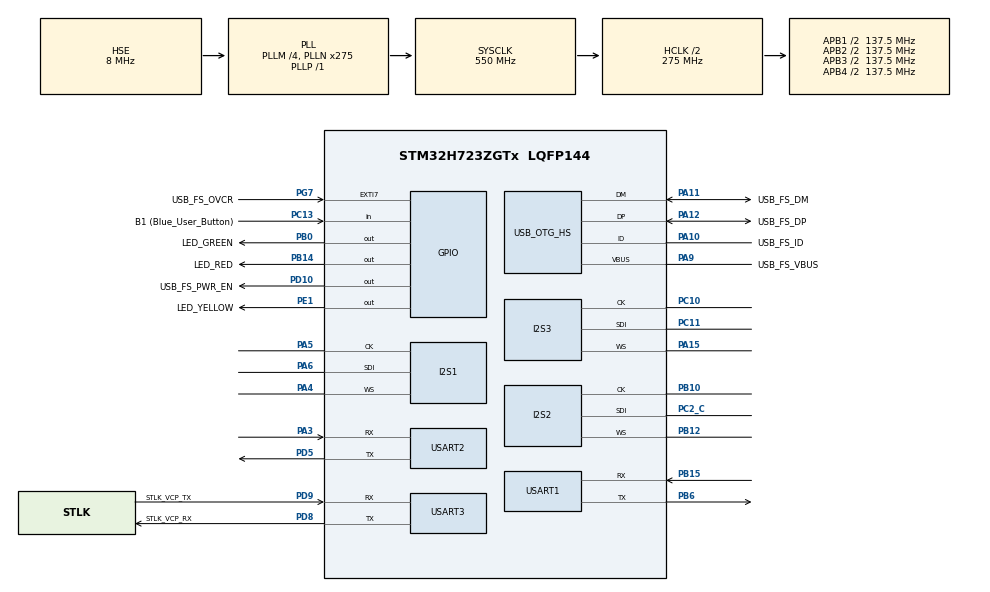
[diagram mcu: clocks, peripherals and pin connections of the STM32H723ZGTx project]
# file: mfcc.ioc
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CORTEX_M7.CPU_DCache=Enabled
CORTEX_M7.CPU_ICache=Enabled
Dma.Request0=SPI1_RX
Dma.Request1=SPI2_RX
Dma.Request2=SPI3_RX
Dma.SPI1_RX.0.Direction=DMA_PERIPH_TO_MEMORY
Dma.SPI1_RX.0.EventEnable=DISABLE
Dma.SPI1_RX.0.FIFOMode=DMA_FIFOMODE_DISABLE
Dma.SPI1_RX.0.Instance=DMA1_Stream0
Dma.SPI1_RX.0.MemDataAlignment=DMA_MDATAALIGN_WORD
Dma.SPI1_RX.0.MemInc=DMA_MINC_ENABLE
Dma.SPI1_RX.0.Mode=DMA_CIRCULAR
Dma.SPI1_RX.0.PeriphDataAlignment=DMA_PDATAALIGN_WORD
Dma.SPI1_RX.0.PeriphInc=DMA_PINC_DISABLE
Dma.SPI1_RX.0.Polarity=HAL_DMAMUX_REQ_GEN_RISING
Dma.SPI1_RX.0.Priority=DMA_PRIORITY_HIGH
Dma.SPI1_RX.0.RequestNumber=1
Dma.SPI1_RX.0.SignalID=NONE
Dma.SPI1_RX.0.SyncEnable=DISABLE
Dma.SPI1_RX.0.SyncPolarity=HAL_DMAMUX_SYNC_NO_EVENT
Dma.SPI1_RX.0.SyncRequestNumber=1
Dma.SPI1_RX.0.SyncSignalID=NONE
Dma.SPI2_RX.1.Direction=DMA_PERIPH_TO_MEMORY
Dma.SPI2_RX.1.EventEnable=DISABLE
Dma.SPI2_RX.1.FIFOMode=DMA_FIFOMODE_DISABLE
Dma.SPI2_RX.1.Instance=DMA2_Stream0
Dma.SPI2_RX.1.MemDataAlignment=DMA_MDATAALIGN_WORD
Dma.SPI2_RX.1.MemInc=DMA_MINC_ENABLE
Dma.SPI2_RX.1.Mode=DMA_CIRCULAR
Dma.SPI2_RX.1.PeriphDataAlignment=DMA_PDATAALIGN_WORD
Dma.SPI2_RX.1.PeriphInc=DMA_PINC_DISABLE
Dma.SPI2_RX.1.Polarity=HAL_DMAMUX_REQ_GEN_RISING
Dma.SPI2_RX.1.Priority=DMA_PRIORITY_MEDIUM
Dma.SPI2_RX.1.RequestNumber=1
Dma.SPI2_RX.1.SignalID=NONE
Dma.SPI2_RX.1.SyncEnable=DISABLE
Dma.SPI2_RX.1.SyncPolarity=HAL_DMAMUX_SYNC_NO_EVENT
Dma.SPI2_RX.1.SyncRequestNumber=1
Dma.SPI2_RX.1.SyncSignalID=NONE
Dma.SPI3_RX.2.Direction=DMA_PERIPH_TO_MEMORY
Dma.SPI3_RX.2.EventEnable=DISABLE
Dma.SPI3_RX.2.FIFOMode=DMA_FIFOMODE_DISABLE
Dma.SPI3_RX.2.Instance=DMA2_Stream1
Dma.SPI3_RX.2.MemDataAlignment=DMA_MDATAALIGN_WORD
Dma.SPI3_RX.2.MemInc=DMA_MINC_ENABLE
Dma.SPI3_RX.2.Mode=DMA_CIRCULAR
Dma.SPI3_RX.2.PeriphDataAlignment=DMA_PDATAALIGN_WORD
Dma.SPI3_RX.2.PeriphInc=DMA_PINC_DISABLE
Dma.SPI3_RX.2.Polarity=HAL_DMAMUX_REQ_GEN_RISING
Dma.SPI3_RX.2.Priority=DMA_PRIORITY_LOW
Dma.SPI3_RX.2.RequestNumber=1
Dma.SPI3_RX.2.SignalID=NONE
Dma.SPI3_RX.2.SyncEnable=DISABLE
Dma.SPI3_RX.2.SyncPolarity=HAL_DMAMUX_SYNC_NO_EVENT
Dma.SPI3_RX.2.SyncRequestNumber=1
Dma.SPI3_RX.2.SyncSignalID=NONE
I2S1.AudioFreq=I2S_AUDIOFREQ_16K
I2S1.DataFormat=I2S_DATAFORMAT_24B
I2S1.ErrorAudioFreq=0.2 %
I2S1.Instance=SPI$Index
I2S1.RealAudioFreq=16.033 KHz
I2S2.AudioFreq=I2S_AUDIOFREQ_16K
I2S2.DataFormat=I2S_DATAFORMAT_24B
I2S2.ErrorAudioFreq=0.2 %
I2S2.Instance=SPI$Index
I2S2.RealAudioFreq=16.033 KHz
I2S3.AudioFreq=I2S_AUDIOFREQ_16K
I2S3.DataFormat=I2S_DATAFORMAT_24B
I2S3.ErrorAudioFreq=0.2 %
I2S3.Instance=SPI$Index
I2S3.RealAudioFreq=16.033 KHz
Mcu.Family=STM32H7
Mcu.Name=STM32H723ZGTx
Mcu.Package=LQFP144
NVIC.DMA1_Stream0_IRQn=true\:2\:0\:true\:false\:true\:false\:true\:true
NVIC.DMA2_Stream0_IRQn=true\:2\:2\:true\:false\:true\:false\:true\:true
NVIC.DMA2_Stream1_IRQn=true\:2\:3\:true\:false\:true\:false\:true\:true
NVIC.PriorityGroup=NVIC_PRIORITYGROUP_2
NVIC.TIM3_IRQn=true\:1\:2\:true\:false\:true\:true\:true\:true
NVIC.TIM4_IRQn=true\:1\:3\:true\:false\:true\:true\:true\:true
NVIC.USART1_IRQn=true\:1\:1\:true\:false\:true\:true\:true\:true
NVIC.USART2_IRQn=true\:1\:0\:true\:false\:true\:true\:true\:true
PA1.GPIO_Label=RMII_REF_CLK
PA1.Signal=ETH_REF_CLK
PA10.GPIO_Label=USB_FS_ID
PA10.Mode=OTG/Dual-Role-Device-FS
PA10.Signal=USB_OTG_HS_ID
PA11.GPIO_Label=USB_FS_DM
PA11.Mode=OTG/Dual-Role-Device-FS
PA11.Signal=USB_OTG_HS_DM
PA12.GPIO_Label=USB_FS_DP
PA12.Mode=OTG/Dual-Role-Device-FS
PA12.Signal=USB_OTG_HS_DP
PA13(JTMS/SWDIO).GPIO_Label=SWDIO
PA13(JTMS/SWDIO).Mode=Trace_Asynchronous_SW
PA13(JTMS/SWDIO).Signal=DEBUG_JTMS-SWDIO
PA14(JTCK/SWCLK).GPIO_Label=SWCLK
PA14(JTCK/SWCLK).Mode=Trace_Asynchronous_SW
PA14(JTCK/SWCLK).Signal=DEBUG_JTCK-SWCLK
PA15(JTDI).Mode=Half_Duplex_Master_Rx
PA15(JTDI).Signal=I2S3_WS
PA2.GPIO_Label=RMII_MDIO
PA2.Signal=ETH_MDIO
PA3.Mode=Asynchronous
PA3.Signal=USART2_RX
PA4.Mode=Half_Duplex_Master_Rx
PA4.Signal=I2S1_WS
PA5.Mode=Half_Duplex_Master_Rx
PA5.Signal=I2S1_CK
PA6.Mode=Half_Duplex_Master_Rx
PA6.Signal=I2S1_SDI
PA7.GPIO_Label=RMII_CRS_DV
PA7.Signal=ETH_CRS_DV
PA9.GPIO_Label=USB_FS_VBUS
PA9.Mode=Activate_VBUS_FS
PA9.Signal=USB_OTG_HS_VBUS
PB0.GPIO_Label=LED_GREEN
PB0.Signal=GPIO_Output
PB10.Mode=Half_Duplex_Master_Rx
PB10.Signal=I2S2_CK
PB12.Mode=Half_Duplex_Master_Rx
PB12.Signal=I2S2_WS
PB13.GPIO_Label=RMII_TXD1
PB13.Signal=ETH_TXD1
PB14.GPIO_Label=LED_RED
PB14.Signal=GPIO_Output
PB15.Mode=Asynchronous
PB15.Signal=USART1_RX
PB3(JTDO/TRACESWO).GPIO_Label=SWO
PB3(JTDO/TRACESWO).Mode=Trace_Asynchronous_SW
PB3(JTDO/TRACESWO).Signal=DEBUG_JTDO-SWO
PB6.Mode=Asynchronous
PB6.Signal=USART1_TX
PC1.GPIO_Label=RMII_MDC
PC1.Signal=ETH_MDC
PC10.Mode=Half_Duplex_Master_Rx
PC10.Signal=I2S3_CK
PC11.Mode=Half_Duplex_Master_Rx
PC11.Signal=I2S3_SDI
PC13.GPIO_Label=B1 (Blue_User_Button)
PC13.Signal=GPIO_Input
PC14-OSC32_IN.Mode=LSE-External-Oscillator
PC14-OSC32_IN.Signal=RCC_OSC32_IN
PC15-OSC32_OUT.Mode=LSE-External-Oscillator
PC15-OSC32_OUT.Signal=RCC_OSC32_OUT
PC2_C.Mode=Half_Duplex_Master_Rx
PC2_C.Signal=I2S2_SDI
PC4.GPIO_Label=RMII_RXD0
PC4.Signal=ETH_RXD0
PC5.GPIO_Label=RMII_RXD1
PC5.Signal=ETH_RXD1
PD10.GPIO_Label=USB_FS_PWR_EN
PD10.Signal=GPIO_Output
PD5.Mode=Asynchronous
PD5.Signal=USART2_TX
PD8.GPIO_Label=STLK_VCP_RX
PD8.Mode=Asynchronous
PD8.Signal=USART3_TX
PD9.GPIO_Label=STLK_VCP_TX
PD9.Mode=Asynchronous
PD9.Signal=USART3_RX
PE1.GPIO_Label=LED_YELLOW
PE1.Signal=GPIO_Output
PG11.GPIO_Label=RMII_TX_EN
PG11.Signal=ETH_TX_EN
PG13.GPIO_Label=RMII_TXD0
PG13.Signal=ETH_TXD0
PG7.GPIO_Label=USB_FS_OVCR
PG7.Signal=GPXTI7
PH0-OSC_IN.GPIO_Label=MCO
PH0-OSC_IN.Mode=HSE-External-Clock-Source
PH0-OSC_IN.Signal=RCC_OSC_IN
PH1-OSC_OUT.Signal=RCC_OSC_OUT
ProjectManager.HeapSize=0x800
ProjectManager.StackSize=0x800
ProjectManager.TargetToolchain=MDK-ARM V5.32
RCC.ADCFreq_Value=76000000
RCC.APB1Freq_Value=137500000
RCC.APB2Freq_Value=137500000
RCC.APB3Freq_Value=137500000
RCC.APB4Freq_Value=137500000
RCC.CortexFreq_Value=550000000
RCC.D1PPRE=RCC_APB3_DIV2
RCC.D2PPRE1=RCC_APB1_DIV2
RCC.D2PPRE2=RCC_APB2_DIV2
RCC.D3PPRE=RCC_APB4_DIV2
RCC.DIVM1=4
RCC.DIVM2=1
RCC.DIVN1=275
RCC.DIVN2=19
RCC.DIVP1=1
RCC.DIVQ1=4
RCC.HCLKFreq_Value=275000000
RCC.HPRE=RCC_HCLK_DIV2
RCC.HSE_VALUE=8000000
RCC.PLLFRACN=0
RCC.PLLSourceVirtual=RCC_PLLSOURCE_HSE
RCC.SYSCLKFreq_VALUE=550000000
RCC.SYSCLKSource=RCC_SYSCLKSOURCE_PLLCLK
RCC.USBCLockSelection=RCC_USBCLKSOURCE_HSI48
RCC.USBFreq_Value=48000000
STMicroelectronics.X-CUBE-AI.7.3.0.ActivationBufferSizeList=39692
STMicroelectronics.X-CUBE-AI.7.3.0.ActivationBuffers=pool0
STMicroelectronics.X-CUBE-AI.7.3.0.ActivationNames=pool0
STMicroelectronics.X-CUBE-AI.7.3.0.ActivationSizes=AI_NETWORK_DATA_ACTIVATION_1_SIZE
STMicroelectronics.X-CUBE-AI.7.3.0.ApplicationCcDeviceJjApplication=ApplicationTemplate
STMicroelectronics.X-CUBE-AI.7.3.0.HeapSize=0x800
STMicroelectronics.X-CUBE-AI.7.3.0.InternalRamActivationBufferMaxSize=AI_NETWORK_DATA_ACTIVATIONS_SIZE
STMicroelectronics.X-CUBE-AI.7.3.0.LatestDirectoryUsed-ed1af5d7925f6d6b255c3a92b220cefd7b7196caec219f8320e86f7e6d1454a7=E\:\\STM32\\STM32H723\\workspace\\my_model_mini_mfcc_0\\NUCLEO-H723ZG
STMicroelectronics.X-CUBE-AI.7.3.0.MaximumNumberOfInputLayer=1
STMicroelectronics.X-CUBE-AI.7.3.0.MaximumNumberOfOutputLayer=1
STMicroelectronics.X-CUBE-AI.7.3.0.MaximumSizeOfInputLayer=1
STMicroelectronics.X-CUBE-AI.7.3.0.MaximumSizeOfOutputLayer=1
STMicroelectronics.X-CUBE-AI.7.3.0.ModelActualCompression-ed1af5d7925f6d6b255c3a92b220cefd7b7196caec219f8320e86f7e6d1454a7=0.0
STMicroelectronics.X-CUBE-AI.7.3.0.ModelCompression-123bb9d218463d535ae74dc634eb4dd065df52d11d492c47e5397f0be547ec17=None
STMicroelectronics.X-CUBE-AI.7.3.0.ModelCompression-ed1af5d7925f6d6b255c3a92b220cefd7b7196caec219f8320e86f7e6d1454a7=None
STMicroelectronics.X-CUBE-AI.7.3.0.ModelFlashOccupation-ed1af5d7925f6d6b255c3a92b220cefd7b7196caec219f8320e86f7e6d1454a7=115056
STMicroelectronics.X-CUBE-AI.7.3.0.ModelHashList=ed1af5d7925f6d6b255c3a92b220cefd7b7196caec219f8320e86f7e6d1454a7;123bb9d218463d535ae74dc634eb4dd065df52d11d492c47e5397f0be547ec17
STMicroelectronics.X-CUBE-AI.7.3.0.ModelKind-123bb9d218463d535ae74dc634eb4dd065df52d11d492c47e5397f0be547ec17=KERAS
STMicroelectronics.X-CUBE-AI.7.3.0.ModelKind-ed1af5d7925f6d6b255c3a92b220cefd7b7196caec219f8320e86f7e6d1454a7=TFLITE
STMicroelectronics.X-CUBE-AI.7.3.0.ModelMacc-ed1af5d7925f6d6b255c3a92b220cefd7b7196caec219f8320e86f7e6d1454a7=2510560
STMicroelectronics.X-CUBE-AI.7.3.0.ModelName-123bb9d218463d535ae74dc634eb4dd065df52d11d492c47e5397f0be547ec17=network_1
STMicroelectronics.X-CUBE-AI.7.3.0.ModelName-ed1af5d7925f6d6b255c3a92b220cefd7b7196caec219f8320e86f7e6d1454a7=network
STMicroelectronics.X-CUBE-AI.7.3.0.ModelNameList=network,network_1
STMicroelectronics.X-CUBE-AI.7.3.0.ModelRamOccupation-ed1af5d7925f6d6b255c3a92b220cefd7b7196caec219f8320e86f7e6d1454a7=39692
STMicroelectronics.X-CUBE-AI.7.3.0.ModelStructureFile-ed1af5d7925f6d6b255c3a92b220cefd7b7196caec219f8320e86f7e6d1454a7=E\:\\STM32\\STM32H723\\workspace\\my_model_mini_mfcc_0\\NUCLEO-H723ZG\\my_model_mini_stm32_mfcc_3class_CANRUN.tflite
STMicroelectronics.X-CUBE-AI.7.3.0.ModelType-123bb9d218463d535ae74dc634eb4dd065df52d11d492c47e5397f0be547ec17=Saved model
STMicroelectronics.X-CUBE-AI.7.3.0.ModelType-ed1af5d7925f6d6b255c3a92b220cefd7b7196caec219f8320e86f7e6d1454a7=STM32Cube.AI runtime
STMicroelectronics.X-CUBE-AI.7.3.0.ReadyForCodeGeneration=true
STMicroelectronics.X-CUBE-AI.7.3.0.StackSize=0x800
STMicroelectronics.X-CUBE-AI.7.3.0.WorkingBufferStartAddrList=0xFFFFFFFF,0xFFFFFFFF
STMicroelectronics.X-CUBE-AI.7.3.0.XAaCUBEAaAICcArtificialOoIntelligenceJjCore=true
STMicroelectronics.X-CUBE-AI.7.3.0.copyWeightToRam=false
STMicroelectronics.X-CUBE-AI.7.3.0.customLayerConfigEnabled=false
STMicroelectronics.X-CUBE-AI.7.3.0.useInputAllocation=true
STMicroelectronics.X-CUBE-AI.7.3.0.useOutputAllocation=true
TIM3.Period=9999
TIM3.Prescaler=27499
USART1.VirtualMode-Asynchronous=VM_ASYNC
USART2.VirtualMode-Asynchronous=VM_ASYNC
USART3.VirtualMode-Asynchronous=VM_ASYNC
VP_CRC_VS_CRC.Mode=CRC_Activate
VP_STMicroelectronics.X-CUBE-AI_VS_ArtificialOoIntelligenceJjXAaCUBEAaAI_7.3.0.Mode=ArtificialOoIntelligenceJjXAaCUBEAaAI
VP_STMicroelectronics.X-CUBE-AI_VS_DeviceJjApplication_7.3.0.Mode=DeviceJjApplication
VP_TIM3_VS_ClockSourceINT.Mode=Internal
VP_TIM4_VS_ClockSourceINT.Mode=Internal
board=NUCLEO-H723ZG

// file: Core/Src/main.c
/* USER CODE BEGIN Header */
/**
  ******************************************************************************
  * @file           : main.c
  * @brief          : Main program body
  ******************************************************************************
  * @attention
  *
  * Copyright (c) 2023 STMicroelectronics.
  * All rights reserved.
  *
  * This software is licensed under terms that can be found in the LICENSE file
  * in the root directory of this software component.
  * If no LICENSE file comes with this software, it is provided AS-IS.
  *
  ******************************************************************************
  */
/* USER CODE END Header */
#include "main.h"
#include "crc.h"
#include "dma.h"
#include "i2s.h"
#include "tim.h"
#include "usart.h"
#include "usb_otg.h"
#include "gpio.h"
#include "app_x-cube-ai.h"

/* USER CODE BEGIN Includes */
#include "key.h"
#include "get_mfcc.h"
#include "get_tdoa.h"
/* USER CODE END Includes */

/* USER CODE BEGIN PD */
#define AUDIO_LENGTH 7920
/* USER CODE END PD */

void SystemClock_Config(void);

/* USER CODE BEGIN 0 */
arm_mfcc_instance_f32  S;

uint32_t audio_data_ori[AUDIO_LENGTH*4]={0};//麦克风0原始数据
uint32_t audio_data_ori_1[AUDIO_LENGTH*4]={0};//麦克风1原始数据
//8080*2双buffer  *2接收时双声道 只有右声道有效

float32_t *audio_data=NULL;//麦克风0转换后的音频数据
float32_t *audio_data_1=NULL;//麦克风1转换后的音频数据

mel_union   mel_data;//32*48 麦克风 mfcc输出结果

uint8_t flag[3]={0};//0--无数据  1--前半  2--后半

//计算时延
TDOA_Structure TDOA_M12_Str={0};
__IO uint8_t flag_beep=0;//0--响 1--关

void Init_beep(void)
{
	GPIO_InitTypeDef GPIO_InitStruct = {0};
	GPIO_InitStruct.Pin = GPIO_PIN_8;
  GPIO_InitStruct.Mode = GPIO_MODE_OUTPUT_PP;
  GPIO_InitStruct.Pull = GPIO_NOPULL;
  GPIO_InitStruct.Speed = GPIO_SPEED_FREQ_LOW;
  HAL_GPIO_Init(GPIOC, &GPIO_InitStruct);
	HAL_GPIO_WritePin(GPIOC,GPIO_PIN_8,GPIO_PIN_RESET);
}

float trans_24_cmpl_src(uint32_t input)
{
		int32_t output=0;

		input &= 0x00ffffff;

		if((input&0x800000UL)==0x800000UL)
		{
				//负数
				output =-((input^0x00ffffff) + 1);	//加法运算优先级大于异或
		}
		else
		{
				//正数
				output = input;
		}

		return (float)output;
}
//麦克风0处理函数
void trans_audio_ori_to_float(uint8_t flag_dma)
{
		uint32_t i=0;
		uint32_t *p=NULL;

		if(flag_dma==1)
			p=audio_data_ori;
		else
			p=audio_data_ori+AUDIO_LENGTH*2;

		audio_data=(float32_t*)p;

		for(i=0;i<AUDIO_LENGTH;i++)
		{
				audio_data[i]=trans_24_cmpl_src(p[i*2+1]) ;
//				printf("%f\r\n",audio_data[i]);
		}

		for(i=0;i<FFT_LENTH;i++)
		{
				TDOA_M12_Str.sound_data_x[i*2] = audio_data[i];
				TDOA_M12_Str.sound_data_x[i*2+1] = 0;
		}
}
//麦克风1处理函数
void trans_audio_ori_1_to_float(uint8_t flag_dma)
{
		uint32_t i=0;
		uint32_t *p=NULL;

		if(flag_dma==1)
			p=audio_data_ori_1;
		else
			p=audio_data_ori_1+AUDIO_LENGTH*2;

		audio_data_1=(float32_t*)p;

		for(i=0;i<AUDIO_LENGTH;i++)
		{
				audio_data_1[i]=trans_24_cmpl_src(p[i*2+1]);
//				printf("%f\r\n",audio_data[i]);
		}

		for(i=0;i<FFT_LENTH;i++)
		{
				TDOA_M12_Str.sound_data_y[i*2] = audio_data_1[i];
				TDOA_M12_Str.sound_data_y[i*2+1] = 0;
		}
}

//void generate_audio(uint8_t printf_option)
//{
//		for(uint32_t i=0;i<AUDIO_LENGTH;i++)
//		{
//			audio_data[i]=1;
//			if(printf_option)
//				printf("%u:%f\r\n",i,audio_data[i]);
//		}
//
//
//}

/* USER CODE END 0 */

int main(void)
{

  /* Enable I-Cache---------------------------------------------------------*/
  SCB_EnableICache();

  /* Enable D-Cache---------------------------------------------------------*/
  SCB_EnableDCache();

  /* MCU Configuration--------------------------------------------------------*/

  /* Reset of all peripherals, Initializes the Flash interface and the Systick. */
  HAL_Init();

  /* Configure the system clock */
  SystemClock_Config();

  /* Initialize all configured peripherals */
  MX_GPIO_Init();
  MX_DMA_Init();
  MX_USB_OTG_HS_USB_Init();
  MX_I2S1_Init();
  MX_USART1_UART_Init();
  MX_USART2_UART_Init();
  MX_USART3_UART_Init();
  MX_I2S2_Init();
  MX_I2S3_Init();
  MX_CRC_Init();
  MX_TIM3_Init();
  MX_TIM4_Init();
  MX_X_CUBE_AI_Init();
  /* USER CODE BEGIN 2 */
	Init_beep();
	Init_my_mfcc(&S);

	HAL_TIM_Base_Start_IT(&htim3);

	HAL_I2S_Receive_DMA(&hi2s1,(uint16_t*)audio_data_ori,AUDIO_LENGTH*4);
	HAL_I2S_Receive_DMA(&hi2s2,(uint16_t*)audio_data_ori_1,AUDIO_LENGTH*4);
  /* USER CODE END 2 */

  /* Infinite loop */
  /* USER CODE BEGIN WHILE */
  while (1)
  {
		if(flag[0]!=0&&flag[1]!=0)
		{
				trans_audio_ori_to_float(flag[0]);
				cal_mfcc(&S,audio_data,mel_data.data_f);
				MX_X_CUBE_AI_Process();

				trans_audio_ori_1_to_float(flag[1]);
				cal_mfcc(&S,audio_data_1,mel_data.data_f);
				MX_X_CUBE_AI_Process();

				//cal_position and trans to bluetooth
				cal_tdoa(&TDOA_M12_Str,1);
				//cal_position and trans to bluetooth

				flag[0]=0;
				flag[1]=0;
				HAL_GPIO_TogglePin(LED_GREEN_GPIO_Port,LED_GREEN_Pin);

		}

    /* USER CODE END WHILE */

  }
}

void SystemClock_Config(void)
{
  RCC_OscInitTypeDef RCC_OscInitStruct = {0};
  RCC_ClkInitTypeDef RCC_ClkInitStruct = {0};

  /** Supply configuration update enable
  */
  HAL_PWREx_ConfigSupply(PWR_LDO_SUPPLY);

  /** Configure the main internal regulator output voltage
  */
  __HAL_PWR_VOLTAGESCALING_CONFIG(PWR_REGULATOR_VOLTAGE_SCALE0);

  while(!__HAL_PWR_GET_FLAG(PWR_FLAG_VOSRDY)) {}

  /** Initializes the RCC Oscillators according to the specified parameters
  * in the RCC_OscInitTypeDef structure.
  */
  RCC_OscInitStruct.OscillatorType = RCC_OSCILLATORTYPE_HSI48|RCC_OSCILLATORTYPE_HSE;
  RCC_OscInitStruct.HSEState = RCC_HSE_ON;
  RCC_OscInitStruct.HSI48State = RCC_HSI48_ON;
  RCC_OscInitStruct.PLL.PLLState = RCC_PLL_ON;
  RCC_OscInitStruct.PLL.PLLSource = RCC_PLLSOURCE_HSE;
  RCC_OscInitStruct.PLL.PLLM = 4;
  RCC_OscInitStruct.PLL.PLLN = 275;
  RCC_OscInitStruct.PLL.PLLP = 1;
  RCC_OscInitStruct.PLL.PLLQ = 4;
  RCC_OscInitStruct.PLL.PLLR = 2;
  RCC_OscInitStruct.PLL.PLLRGE = RCC_PLL1VCIRANGE_1;
  RCC_OscInitStruct.PLL.PLLVCOSEL = RCC_PLL1VCOWIDE;
  RCC_OscInitStruct.PLL.PLLFRACN = 0;
  if (HAL_RCC_OscConfig(&RCC_OscInitStruct) != HAL_OK)
  {
    Error_Handler();
  }

  /** Initializes the CPU, AHB and APB buses clocks
  */
  RCC_ClkInitStruct.ClockType = RCC_CLOCKTYPE_HCLK|RCC_CLOCKTYPE_SYSCLK
                              |RCC_CLOCKTYPE_PCLK1|RCC_CLOCKTYPE_PCLK2
                              |RCC_CLOCKTYPE_D3PCLK1|RCC_CLOCKTYPE_D1PCLK1;
  RCC_ClkInitStruct.SYSCLKSource = RCC_SYSCLKSOURCE_PLLCLK;
  RCC_ClkInitStruct.SYSCLKDivider = RCC_SYSCLK_DIV1;
  RCC_ClkInitStruct.AHBCLKDivider = RCC_HCLK_DIV2;
  RCC_ClkInitStruct.APB3CLKDivider = RCC_APB3_DIV2;
  RCC_ClkInitStruct.APB1CLKDivider = RCC_APB1_DIV2;
  RCC_ClkInitStruct.APB2CLKDivider = RCC_APB2_DIV2;
  RCC_ClkInitStruct.APB4CLKDivider = RCC_APB4_DIV2;

  if (HAL_RCC_ClockConfig(&RCC_ClkInitStruct, FLASH_LATENCY_3) != HAL_OK)
  {
    Error_Handler();
  }
}

/* USER CODE BEGIN 4 */
#include <stdio.h>
int fputc(int ch, FILE *f)
{
  HAL_UART_Transmit(&huart3, (uint8_t *)&ch, 1, 0xffff);
  return ch;
}

uint8_t flag_start_cal_tdoa=0;
uint8_t cnt_start_cal_tdoa[3]={0};//前5次会读出噪声,舍去前5次数据
void HAL_I2S_RxHalfCpltCallback(I2S_HandleTypeDef *hi2s)
{
		if(flag_start_cal_tdoa==0)
			USART_printf(&huart3,"in:1");

		if(hi2s==&hi2s1)
		{
				if(flag_start_cal_tdoa==1)
				{
					if(flag[0]==0)
						flag[0]=1;
					else
						USART_printf(&huart3,"hi2s1_buzy:1");
				}
		}
		if(hi2s==&hi2s2)
		{
				if(flag_start_cal_tdoa==1)
				{
					if(flag[1]==0)
						flag[1]=1;
					else
						USART_printf(&huart3,"hi2s2_buzy:1");
				}
		}

}

void HAL_I2S_RxCpltCallback(I2S_HandleTypeDef *hi2s)
{
		if(flag_start_cal_tdoa==0)
			USART_printf(&huart3,"in:2\r\n");
		if(hi2s==&hi2s1)
		{
				if(flag_start_cal_tdoa==1)
				{
					if(flag[0]==0)
						flag[0]=2;
					else
						USART_printf(&huart3,"hi2s1_buzy:2");
				}
				else
				{
					cnt_start_cal_tdoa[0]++;
				}
		}

		if(hi2s==&hi2s2)
		{
				if(flag_start_cal_tdoa==1)
				{
					if(flag[1]==0)
						flag[1]=2;
					else
						USART_printf(&huart3,"hi2s2_buzy:2");
				}
				else
				{
					cnt_start_cal_tdoa[1]++;
				}
		}

		if(cnt_start_cal_tdoa[0]>5&&cnt_start_cal_tdoa[1]>5)
		{
				flag_start_cal_tdoa=1;
		}
}

void HAL_I2S_ErrorCallback(I2S_HandleTypeDef *hi2s)
{
		USART_printf(&huart3,"ERROR%d\r\n",hi2s->ErrorCode);
}

void HAL_TIM_PeriodElapsedCallback(TIM_HandleTypeDef *htim)
{
	static uint8_t cnt_beep=0;

		if(htim==&htim3)
		{
			if(flag_beep==1)
			{
					if(++cnt_beep>=10)
					{
						flag_beep=2;
						cnt_beep=0;
						BEEP_CLOSE;
					}
					else
					{
						BEEP_Toggle;
					}
			}

		}

}
/* USER CODE END 4 */

void Error_Handler(void)
{
  __disable_irq();
  while (1)
  {
  }
}
